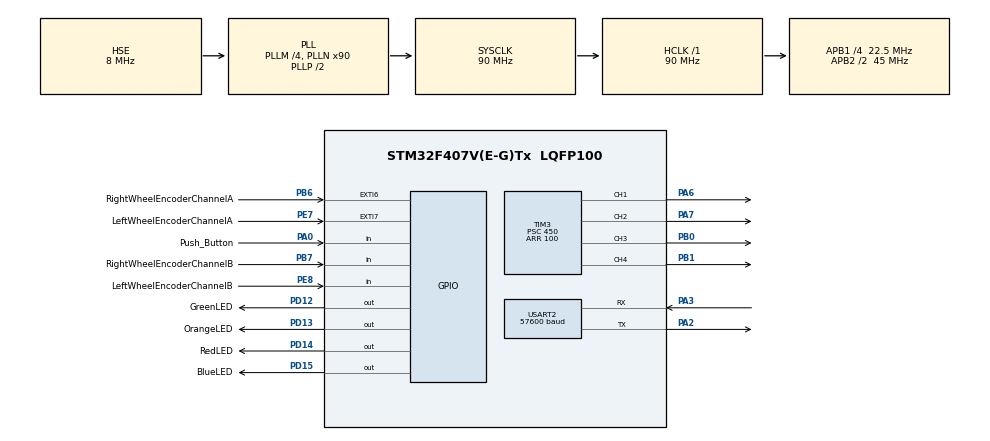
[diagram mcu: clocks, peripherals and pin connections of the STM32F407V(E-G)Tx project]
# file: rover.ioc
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Dma.Request0=USART2_RX
Dma.Request1=USART2_TX
Dma.USART2_RX.0.Direction=DMA_PERIPH_TO_MEMORY
Dma.USART2_RX.0.FIFOMode=DMA_FIFOMODE_DISABLE
Dma.USART2_RX.0.Instance=DMA1_Stream5
Dma.USART2_RX.0.MemDataAlignment=DMA_MDATAALIGN_BYTE
Dma.USART2_RX.0.MemInc=DMA_MINC_ENABLE
Dma.USART2_RX.0.Mode=DMA_CIRCULAR
Dma.USART2_RX.0.PeriphDataAlignment=DMA_PDATAALIGN_BYTE
Dma.USART2_RX.0.PeriphInc=DMA_PINC_DISABLE
Dma.USART2_RX.0.Priority=DMA_PRIORITY_HIGH
Dma.USART2_TX.1.Direction=DMA_MEMORY_TO_PERIPH
Dma.USART2_TX.1.FIFOMode=DMA_FIFOMODE_DISABLE
Dma.USART2_TX.1.Instance=DMA1_Stream6
Dma.USART2_TX.1.MemDataAlignment=DMA_MDATAALIGN_BYTE
Dma.USART2_TX.1.MemInc=DMA_MINC_ENABLE
Dma.USART2_TX.1.Mode=DMA_NORMAL
Dma.USART2_TX.1.PeriphDataAlignment=DMA_PDATAALIGN_BYTE
Dma.USART2_TX.1.PeriphInc=DMA_PINC_DISABLE
Dma.USART2_TX.1.Priority=DMA_PRIORITY_HIGH
Mcu.Family=STM32F4
Mcu.Name=STM32F407V(E-G)Tx
Mcu.Package=LQFP100
NVIC.DMA1_Stream5_IRQn=true\:0\:0\:false\:false\:true\:false\:true\:true
NVIC.DMA1_Stream6_IRQn=true\:0\:0\:false\:false\:true\:false\:true\:true
NVIC.EXTI9_5_IRQn=true\:0\:0\:false\:false\:true\:true\:true\:true
NVIC.PriorityGroup=NVIC_PRIORITYGROUP_0
NVIC.TIM2_IRQn=true\:0\:0\:false\:false\:true\:true\:true\:true
NVIC.USART2_IRQn=true\:0\:0\:false\:false\:true\:true\:true\:true
PA0-WKUP.GPIO_Label=Push_Button
PA0-WKUP.Signal=GPIO_Input
PA13.Mode=Serial_Wire
PA13.Signal=SYS_JTMS-SWDIO
PA14.Mode=Serial_Wire
PA14.Signal=SYS_JTCK-SWCLK
PA2.Mode=Asynchronous
PA2.Signal=USART2_TX
PA3.Mode=Asynchronous
PA3.Signal=USART2_RX
PA6.Signal=S_TIM3_CH1
PA7.Signal=S_TIM3_CH2
PB0.Signal=S_TIM3_CH3
PB1.Signal=S_TIM3_CH4
PB6.GPIO_Label=RightWheelEncoderChannelA
PB6.GPIO_ModeDefaultEXTI=GPIO_MODE_IT_RISING_FALLING
PB6.Signal=GPXTI6
PB7.GPIO_Label=RightWheelEncoderChannelB
PB7.Signal=GPIO_Input
PD12.GPIO_Label=GreenLED
PD12.Signal=GPIO_Output
PD13.GPIO_Label=OrangeLED
PD13.Signal=GPIO_Output
PD14.GPIO_Label=RedLED
PD14.Signal=GPIO_Output
PD15.GPIO_Label=BlueLED
PD15.Signal=GPIO_Output
PE7.GPIO_Label=LeftWheelEncoderChannelA
PE7.GPIO_ModeDefaultEXTI=GPIO_MODE_IT_RISING_FALLING
PE7.Signal=GPXTI7
PE8.GPIO_Label=LeftWheelEncoderChannelB
PE8.Signal=GPIO_Input
PH0-OSC_IN.Mode=HSE-External-Oscillator
PH0-OSC_IN.Signal=RCC_OSC_IN
PH1-OSC_OUT.Mode=HSE-External-Oscillator
PH1-OSC_OUT.Signal=RCC_OSC_OUT
ProjectManager.HeapSize=0x200
ProjectManager.StackSize=0x400
ProjectManager.TargetToolchain=STM32CubeIDE
RCC.48MHZClocksFreq_Value=25714285.714285713
RCC.AHBFreq_Value=90000000
RCC.APB1CLKDivider=RCC_HCLK_DIV4
RCC.APB1Freq_Value=22500000
RCC.APB1TimFreq_Value=45000000
RCC.APB2CLKDivider=RCC_HCLK_DIV2
RCC.APB2Freq_Value=45000000
RCC.APB2TimFreq_Value=90000000
RCC.CortexFreq_Value=90000000
RCC.HCLKFreq_Value=90000000
RCC.HSE_VALUE=8000000
RCC.HSI_VALUE=16000000
RCC.LSE_VALUE=32768
RCC.PLLM=4
RCC.PLLN=90
RCC.PLLQ=7
RCC.PLLSourceVirtual=RCC_PLLSOURCE_HSE
RCC.SYSCLKFreq_VALUE=90000000
RCC.SYSCLKSource=RCC_SYSCLKSOURCE_PLLCLK
RCC.VCOOutputFreq_Value=180000000
SH.S_TIM3_CH1.0=TIM3_CH1,PWM Generation1 CH1
SH.S_TIM3_CH2.0=TIM3_CH2,PWM Generation2 CH2
SH.S_TIM3_CH3.0=TIM3_CH3,PWM Generation3 CH3
SH.S_TIM3_CH4.0=TIM3_CH4,PWM Generation4 CH4
TIM2.Period=150
TIM2.Prescaler=30000
TIM3.Channel-PWM\ Generation1\ CH1=TIM_CHANNEL_1
TIM3.Channel-PWM\ Generation2\ CH2=TIM_CHANNEL_2
TIM3.Channel-PWM\ Generation3\ CH3=TIM_CHANNEL_3
TIM3.Channel-PWM\ Generation4\ CH4=TIM_CHANNEL_4
TIM3.Period=100
TIM3.Prescaler=450
TIM5.Prescaler=45000
USART2.BaudRate=57600
USART2.VirtualMode=VM_ASYNC
VP_TIM2_VS_ClockSourceINT.Mode=Internal
VP_TIM3_VS_ClockSourceINT.Mode=Internal
VP_TIM5_VS_ClockSourceINT.Mode=Internal
board=STM32F407G-DISC1

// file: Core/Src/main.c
/* USER CODE BEGIN Header */
/**
  ******************************************************************************
  * @file           : main.c
  * @brief          : Main program body
  ******************************************************************************
  * @attention
  *
  * Copyright (c) 2024 STMicroelectronics.
  * All rights reserved.
  *
  * This software is licensed under terms that can be found in the LICENSE file
  * in the root directory of this software component.
  * If no LICENSE file comes with this software, it is provided AS-IS.
  *
  ******************************************************************************
  */
/* USER CODE END Header */
#include "main.h"

/* USER CODE BEGIN Includes */
#include <stdio.h>
#include <mainpp.h>
#include <thc.h>
/* USER CODE END Includes */

TIM_HandleTypeDef htim2;
TIM_HandleTypeDef htim3;
TIM_HandleTypeDef htim5;

UART_HandleTypeDef huart2;
DMA_HandleTypeDef hdma_usart2_rx;
DMA_HandleTypeDef hdma_usart2_tx;

void SystemClock_Config(void);
static void MX_GPIO_Init(void);
static void MX_DMA_Init(void);
static void MX_TIM2_Init(void);
static void MX_USART2_UART_Init(void);
static void MX_TIM3_Init(void);
static void MX_TIM5_Init(void);

/* USER CODE BEGIN 0 */
//int nowVal = 0;

/* USER CODE END 0 */

int main(void)
{

  /* MCU Configuration--------------------------------------------------------*/

  /* Reset of all peripherals, Initializes the Flash interface and the Systick. */
  HAL_Init();

  /* Configure the system clock */
  SystemClock_Config();

  /* Initialize all configured peripherals */
  MX_GPIO_Init();
  MX_DMA_Init();
  MX_TIM2_Init();
  MX_USART2_UART_Init();
  MX_TIM3_Init();
  MX_TIM5_Init();
  /* USER CODE BEGIN 2 */
  HAL_TIM_Base_Start(&htim3);
  HAL_TIM_Base_Start(&htim5);
  HAL_TIM_PWM_Start(&htim3, TIM_CHANNEL_1);
  HAL_TIM_PWM_Start(&htim3, TIM_CHANNEL_2);
  HAL_TIM_PWM_Start(&htim3, TIM_CHANNEL_3);
  HAL_TIM_PWM_Start(&htim3, TIM_CHANNEL_4);
  HAL_TIM_Base_Start_IT(&htim2);

  //char uart_buf[100];
  //int uart_buf_len;
  setup();
  /* USER CODE END 2 */

  /* Infinite loop */
  /* USER CODE BEGIN WHILE */
  while (1)
  {
	  /*if(HAL_GPIO_ReadPin(GPIOA, GPIO_PIN_0) == 1)
	  {
		  nowVal = thc_milliseconds();

	  }*/
	  	  loop();
	  /*if(flag == 1)
	  {
		  uart_buf_len = sprintf(uart_buf, "Left Encoder Ticks: %d Right Encoder Ticks: %d "
				  "Right RPM: %d\r \n", leftenc, rightenc, Rrpm);
		  HAL_UART_Transmit(&huart2, (uint8_t *)uart_buf, uart_buf_len, 100);
		  flag = 0;
	  }*/
    /* USER CODE END WHILE */

  }
}

void SystemClock_Config(void)
{
  RCC_OscInitTypeDef RCC_OscInitStruct = {0};
  RCC_ClkInitTypeDef RCC_ClkInitStruct = {0};

  /** Configure the main internal regulator output voltage
  */
  __HAL_RCC_PWR_CLK_ENABLE();
  __HAL_PWR_VOLTAGESCALING_CONFIG(PWR_REGULATOR_VOLTAGE_SCALE1);

  /** Initializes the RCC Oscillators according to the specified parameters
  * in the RCC_OscInitTypeDef structure.
  */
  RCC_OscInitStruct.OscillatorType = RCC_OSCILLATORTYPE_HSE;
  RCC_OscInitStruct.HSEState = RCC_HSE_ON;
  RCC_OscInitStruct.PLL.PLLState = RCC_PLL_ON;
  RCC_OscInitStruct.PLL.PLLSource = RCC_PLLSOURCE_HSE;
  RCC_OscInitStruct.PLL.PLLM = 4;
  RCC_OscInitStruct.PLL.PLLN = 90;
  RCC_OscInitStruct.PLL.PLLP = RCC_PLLP_DIV2;
  RCC_OscInitStruct.PLL.PLLQ = 7;
  if (HAL_RCC_OscConfig(&RCC_OscInitStruct) != HAL_OK)
  {
    Error_Handler();
  }

  /** Initializes the CPU, AHB and APB buses clocks
  */
  RCC_ClkInitStruct.ClockType = RCC_CLOCKTYPE_HCLK|RCC_CLOCKTYPE_SYSCLK
                              |RCC_CLOCKTYPE_PCLK1|RCC_CLOCKTYPE_PCLK2;
  RCC_ClkInitStruct.SYSCLKSource = RCC_SYSCLKSOURCE_PLLCLK;
  RCC_ClkInitStruct.AHBCLKDivider = RCC_SYSCLK_DIV1;
  RCC_ClkInitStruct.APB1CLKDivider = RCC_HCLK_DIV4;
  RCC_ClkInitStruct.APB2CLKDivider = RCC_HCLK_DIV2;

  if (HAL_RCC_ClockConfig(&RCC_ClkInitStruct, FLASH_LATENCY_2) != HAL_OK)
  {
    Error_Handler();
  }
}

static void MX_TIM2_Init(void)
{

  TIM_ClockConfigTypeDef sClockSourceConfig = {0};
  TIM_MasterConfigTypeDef sMasterConfig = {0};

  htim2.Instance = TIM2;
  htim2.Init.Prescaler = 30000;
  htim2.Init.CounterMode = TIM_COUNTERMODE_UP;
  htim2.Init.Period = 150;
  htim2.Init.ClockDivision = TIM_CLOCKDIVISION_DIV1;
  htim2.Init.AutoReloadPreload = TIM_AUTORELOAD_PRELOAD_DISABLE;
  if (HAL_TIM_Base_Init(&htim2) != HAL_OK)
  {
    Error_Handler();
  }
  sClockSourceConfig.ClockSource = TIM_CLOCKSOURCE_INTERNAL;
  if (HAL_TIM_ConfigClockSource(&htim2, &sClockSourceConfig) != HAL_OK)
  {
    Error_Handler();
  }
  sMasterConfig.MasterOutputTrigger = TIM_TRGO_RESET;
  sMasterConfig.MasterSlaveMode = TIM_MASTERSLAVEMODE_DISABLE;
  if (HAL_TIMEx_MasterConfigSynchronization(&htim2, &sMasterConfig) != HAL_OK)
  {
    Error_Handler();
  }

}

static void MX_TIM3_Init(void)
{

  TIM_ClockConfigTypeDef sClockSourceConfig = {0};
  TIM_MasterConfigTypeDef sMasterConfig = {0};
  TIM_OC_InitTypeDef sConfigOC = {0};

  htim3.Instance = TIM3;
  htim3.Init.Prescaler = 450;
  htim3.Init.CounterMode = TIM_COUNTERMODE_UP;
  htim3.Init.Period = 100;
  htim3.Init.ClockDivision = TIM_CLOCKDIVISION_DIV1;
  htim3.Init.AutoReloadPreload = TIM_AUTORELOAD_PRELOAD_DISABLE;
  if (HAL_TIM_Base_Init(&htim3) != HAL_OK)
  {
    Error_Handler();
  }
  sClockSourceConfig.ClockSource = TIM_CLOCKSOURCE_INTERNAL;
  if (HAL_TIM_ConfigClockSource(&htim3, &sClockSourceConfig) != HAL_OK)
  {
    Error_Handler();
  }
  if (HAL_TIM_PWM_Init(&htim3) != HAL_OK)
  {
    Error_Handler();
  }
  sMasterConfig.MasterOutputTrigger = TIM_TRGO_RESET;
  sMasterConfig.MasterSlaveMode = TIM_MASTERSLAVEMODE_DISABLE;
  if (HAL_TIMEx_MasterConfigSynchronization(&htim3, &sMasterConfig) != HAL_OK)
  {
    Error_Handler();
  }
  sConfigOC.OCMode = TIM_OCMODE_PWM1;
  sConfigOC.Pulse = 0;
  sConfigOC.OCPolarity = TIM_OCPOLARITY_HIGH;
  sConfigOC.OCFastMode = TIM_OCFAST_DISABLE;
  if (HAL_TIM_PWM_ConfigChannel(&htim3, &sConfigOC, TIM_CHANNEL_1) != HAL_OK)
  {
    Error_Handler();
  }
  if (HAL_TIM_PWM_ConfigChannel(&htim3, &sConfigOC, TIM_CHANNEL_2) != HAL_OK)
  {
    Error_Handler();
  }
  if (HAL_TIM_PWM_ConfigChannel(&htim3, &sConfigOC, TIM_CHANNEL_3) != HAL_OK)
  {
    Error_Handler();
  }
  if (HAL_TIM_PWM_ConfigChannel(&htim3, &sConfigOC, TIM_CHANNEL_4) != HAL_OK)
  {
    Error_Handler();
  }
  HAL_TIM_MspPostInit(&htim3);

}

static void MX_TIM5_Init(void)
{

  TIM_ClockConfigTypeDef sClockSourceConfig = {0};
  TIM_MasterConfigTypeDef sMasterConfig = {0};

  htim5.Instance = TIM5;
  htim5.Init.Prescaler = 45000;
  htim5.Init.CounterMode = TIM_COUNTERMODE_UP;
  htim5.Init.Period = 4294967295;
  htim5.Init.ClockDivision = TIM_CLOCKDIVISION_DIV1;
  htim5.Init.AutoReloadPreload = TIM_AUTORELOAD_PRELOAD_DISABLE;
  if (HAL_TIM_Base_Init(&htim5) != HAL_OK)
  {
    Error_Handler();
  }
  sClockSourceConfig.ClockSource = TIM_CLOCKSOURCE_INTERNAL;
  if (HAL_TIM_ConfigClockSource(&htim5, &sClockSourceConfig) != HAL_OK)
  {
    Error_Handler();
  }
  sMasterConfig.MasterOutputTrigger = TIM_TRGO_RESET;
  sMasterConfig.MasterSlaveMode = TIM_MASTERSLAVEMODE_DISABLE;
  if (HAL_TIMEx_MasterConfigSynchronization(&htim5, &sMasterConfig) != HAL_OK)
  {
    Error_Handler();
  }

}

static void MX_USART2_UART_Init(void)
{

  huart2.Instance = USART2;
  huart2.Init.BaudRate = 57600;
  huart2.Init.WordLength = UART_WORDLENGTH_8B;
  huart2.Init.StopBits = UART_STOPBITS_1;
  huart2.Init.Parity = UART_PARITY_NONE;
  huart2.Init.Mode = UART_MODE_TX_RX;
  huart2.Init.HwFlowCtl = UART_HWCONTROL_NONE;
  huart2.Init.OverSampling = UART_OVERSAMPLING_16;
  if (HAL_UART_Init(&huart2) != HAL_OK)
  {
    Error_Handler();
  }

}

static void MX_DMA_Init(void)
{

  /* DMA controller clock enable */
  __HAL_RCC_DMA1_CLK_ENABLE();

  /* DMA interrupt init */
  /* DMA1_Stream5_IRQn interrupt configuration */
  HAL_NVIC_SetPriority(DMA1_Stream5_IRQn, 0, 0);
  HAL_NVIC_EnableIRQ(DMA1_Stream5_IRQn);
  /* DMA1_Stream6_IRQn interrupt configuration */
  HAL_NVIC_SetPriority(DMA1_Stream6_IRQn, 0, 0);
  HAL_NVIC_EnableIRQ(DMA1_Stream6_IRQn);

}

static void MX_GPIO_Init(void)
{
  GPIO_InitTypeDef GPIO_InitStruct = {0};

  /* GPIO Ports Clock Enable */
  __HAL_RCC_GPIOH_CLK_ENABLE();
  __HAL_RCC_GPIOA_CLK_ENABLE();
  __HAL_RCC_GPIOB_CLK_ENABLE();
  __HAL_RCC_GPIOE_CLK_ENABLE();
  __HAL_RCC_GPIOD_CLK_ENABLE();

  /*Configure GPIO pin Output Level */
  HAL_GPIO_WritePin(GPIOD, GreenLED_Pin|OrangeLED_Pin|RedLED_Pin|BlueLED_Pin, GPIO_PIN_RESET);

  /*Configure GPIO pin : Push_Button_Pin */
  GPIO_InitStruct.Pin = Push_Button_Pin;
  GPIO_InitStruct.Mode = GPIO_MODE_INPUT;
  GPIO_InitStruct.Pull = GPIO_NOPULL;
  HAL_GPIO_Init(Push_Button_GPIO_Port, &GPIO_InitStruct);

  /*Configure GPIO pin : LeftWheelEncoderChannelA_Pin */
  GPIO_InitStruct.Pin = LeftWheelEncoderChannelA_Pin;
  GPIO_InitStruct.Mode = GPIO_MODE_IT_RISING_FALLING;
  GPIO_InitStruct.Pull = GPIO_NOPULL;
  HAL_GPIO_Init(LeftWheelEncoderChannelA_GPIO_Port, &GPIO_InitStruct);

  /*Configure GPIO pin : LeftWheelEncoderChannelB_Pin */
  GPIO_InitStruct.Pin = LeftWheelEncoderChannelB_Pin;
  GPIO_InitStruct.Mode = GPIO_MODE_INPUT;
  GPIO_InitStruct.Pull = GPIO_NOPULL;
  HAL_GPIO_Init(LeftWheelEncoderChannelB_GPIO_Port, &GPIO_InitStruct);

  /*Configure GPIO pins : GreenLED_Pin OrangeLED_Pin RedLED_Pin BlueLED_Pin */
  GPIO_InitStruct.Pin = GreenLED_Pin|OrangeLED_Pin|RedLED_Pin|BlueLED_Pin;
  GPIO_InitStruct.Mode = GPIO_MODE_OUTPUT_PP;
  GPIO_InitStruct.Pull = GPIO_NOPULL;
  GPIO_InitStruct.Speed = GPIO_SPEED_FREQ_LOW;
  HAL_GPIO_Init(GPIOD, &GPIO_InitStruct);

  /*Configure GPIO pin : RightWheelEncoderChannelA_Pin */
  GPIO_InitStruct.Pin = RightWheelEncoderChannelA_Pin;
  GPIO_InitStruct.Mode = GPIO_MODE_IT_RISING_FALLING;
  GPIO_InitStruct.Pull = GPIO_NOPULL;
  HAL_GPIO_Init(RightWheelEncoderChannelA_GPIO_Port, &GPIO_InitStruct);

  /*Configure GPIO pin : RightWheelEncoderChannelB_Pin */
  GPIO_InitStruct.Pin = RightWheelEncoderChannelB_Pin;
  GPIO_InitStruct.Mode = GPIO_MODE_INPUT;
  GPIO_InitStruct.Pull = GPIO_NOPULL;
  HAL_GPIO_Init(RightWheelEncoderChannelB_GPIO_Port, &GPIO_InitStruct);

  /* EXTI interrupt init*/
  HAL_NVIC_SetPriority(EXTI9_5_IRQn, 0, 0);
  HAL_NVIC_EnableIRQ(EXTI9_5_IRQn);

}

/* USER CODE BEGIN 4 */
int thc_milliseconds()
{
	int timenow = __HAL_TIM_GET_COUNTER(&htim5);
	return timenow;
}
/* USER CODE END 4 */

void Error_Handler(void)
{
  __disable_irq();
  while (1)
  {
  }
}
